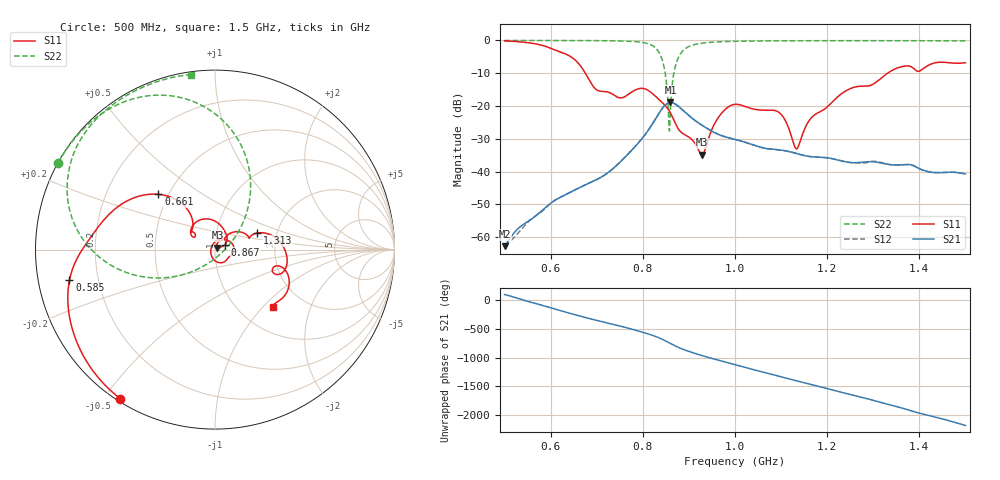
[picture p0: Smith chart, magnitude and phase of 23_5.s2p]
! TOUCHSTONE file generated by CST MICROWAVE STUDIO
! Date and time: Mon Oct 26 12:32:04 2020
! Project name: Scenario_1_Circular_Tissue_out_of_Line.cst
! Parameters = {dy1=35.502; L_HA=400; MT=2.54; Rad_Dielectric=30; Rad_Lower=7.3; Rad_Upper=30; a_HA=580; a_WG=246; b_HA=500; b_WG=121; c_HA=0; c_WG=187; d_feed=85; dx1=866; h_feed=15; h_lower=18; h_upper=40}
! Header version: 2018
! Port assignment regex: !\s*Touchstone port\s*([0-9]+)\s*=\s*(CST MWS port|CST DS port)\s*([0-9]+|Zmin|Zmax)\s*\(\"(.*)\"\)(\s*mode\s*([0-9]+))?.*
! Touchstone port assignment:
! Touchstone port 1 = CST MWS port 1 ("")
! Touchstone port 2 = CST MWS port 2 ("")
# GHz S DB R 50
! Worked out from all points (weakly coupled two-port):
!   1001 points, 500 MHz to 1.5 GHz, reference 50 ohm
!   highest |S21| = -18.93 dB at 860 MHz (marker M1); lowest = -62.8 dB at 500 MHz (marker M2)
!   lowest |S11| = -34.9 dB at 928 MHz (marker M3), VSWR 1.04, Z = 51.4 + j1.19 ohm
!   |S11| at or under -10 dB: 675.1 MHz to 1.331 GHz (656.2 MHz wide, 65.4 % of centre)
!   |S22| runs from -27.6 to 0.0 dB; largest |S21 - S12| = 0.00056
!   S11 on the Smith chart (normalised r, x): 500 MHz: 0.01, -0.55; 585 MHz: 0.09, -0.10; 661 MHz: 0.44, +0.34; 867 MHz: 1.12, +0.06; 1.313 GHz: 1.57, +0.31; 1.5 GHz: 1.42, -1.15
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0.5  -0.14 -122.4  -62.78 101.2  -62.59 99.0  -0.01 151.1
0.585  -1.63 -168.1  -51.42 -94.6  -51.71 -95.9  -0.02 145.2
0.661  -7.12 135.6  -45.02 90.9  -45.01 90.9  -0.04 138.9
0.667  -8.22 130.7  -44.60 77.8  -44.60 77.8  -0.04 138.3
0.703  -15.32 137.4  -42.23 3.4  -42.23 3.4  -0.07 134.4
0.78  -15.38 142.8  -32.88 -151.9  -32.88 -151.9  -0.33 120.3
0.815  -15.57 95.6  -26.72 125.5  -26.73 125.6  -1.18 103.3
0.834  -17.89 70.1  -22.47 69.5  -22.47 69.5  -3.39 82.6
0.848  -19.78 51.5  -19.78 16.7  -19.78 16.7  -9.57 54.7
0.855  -21.00 40.9  -19.08 -12.8  -19.08 -12.8  -20.17 23.8
0.86  -22.17 33.4  -18.93 -34.0  -18.93 -34.0  -20.58 -119.4
0.867  -24.24 25.8  -19.15 -62.8  -19.15 -62.8  -10.19 -149.8
0.891  -28.77 25.8  -21.83 -146.2  -21.83 -146.2  -2.63 175.5
0.928  -34.88 39.8  -25.85 116.4  -25.85 116.4  -0.84 154.9
0.963  -23.69 54.0  -28.62 37.2  -28.62 37.2  -0.44 146.2
1  -19.49 5.9  -30.19 -42.2  -30.19 -42.2  -0.27 140.2
1.095  -21.93 -66.4  -33.38 118.1  -33.37 117.9  -0.13 130.1
1.133  -33.08 170.4  -34.50 36.3  -34.46 36.0  -0.11 126.9
1.167  -23.41 62.3  -35.50 -31.6  -35.49 -31.5  -0.10 124.1
1.313  -11.99 21.5  -37.29 24.2  -37.09 23.9  -0.09 113.0
1.334  -9.74 14.1  -37.85 -20.3  -37.85 -20.4  -0.09 111.4
1.5  -6.80 -44.6  -40.74 -23.9  -40.75 -23.9  -0.13 97.8
